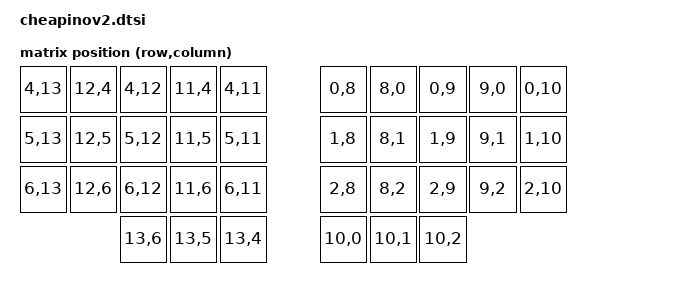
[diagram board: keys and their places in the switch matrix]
/*
 * Cheapino v2 uses one RP2040-Zero and an RJ45 cable to extend its directed
 * matrix to the right half. Pin assignments follow the upstream Cheapino v2
 * QMK definition at fe770a75b87996cb89807d7de14ebf8c85e3ae3b.
 */

#include <dt-bindings/zmk/matrix_transform.h>
#include <arm/raspberrypi/rp2040-boot-mode-retention.dtsi>
#include "cheapinov2-layout.dtsi"

&code_partition {
    reg = <0x100 (DT_SIZE_M(2) - 0x100 - DT_SIZE_K(512))>;
};

&flash0 {
    partitions {
        storage_partition: partition@180000 {
            label = "storage";
            reg = <0x180000 DT_SIZE_K(512)>;
            read-only;
        };
    };
};

/ {
    chosen {
        zmk,kscan = &cheapino_sideband;
        zmk,physical-layout = &cheapino_layout;
    };

    default_transform: keymap_transform_0 {
        compatible = "zmk,matrix-transform";
        columns = <14>;
        rows = <14>;
        /*
         * QMK scans active-low into pull-ups; ZMK scans these GPIO_ACTIVE_HIGH
         * cells active-high into pull-downs. RC therefore follows the physical
         * diode direction, which is the reverse of QMK's drive/sense order.
         */
        map = <
            RC(4,13) RC(12,4) RC(4,12) RC(11,4) RC(4,11)   RC(0,8) RC(8,0) RC(0,9) RC(9,0) RC(0,10)
            RC(5,13) RC(12,5) RC(5,12) RC(11,5) RC(5,11)   RC(1,8) RC(8,1) RC(1,9) RC(9,1) RC(1,10)
            RC(6,13) RC(12,6) RC(6,12) RC(11,6) RC(6,11)   RC(2,8) RC(8,2) RC(2,9) RC(9,2) RC(2,10)
                                RC(13,6) RC(13,5) RC(13,4)   RC(10,0) RC(10,1) RC(10,2)
        >;
    };

    cheapino_scan: kscan0 {
        compatible = "zmk,kscan-gpio-charlieplex";
        debounce-press-ms = <5>;
        debounce-release-ms = <5>;
        poll-period-ms = <1>;
        gpios
            = <&gpio0 3 GPIO_ACTIVE_HIGH>
            , <&gpio0 1 GPIO_ACTIVE_HIGH>
            , <&gpio0 2 GPIO_ACTIVE_HIGH>
            , <&gpio0 0 GPIO_ACTIVE_HIGH>
            , <&gpio0 27 GPIO_ACTIVE_HIGH>
            , <&gpio0 28 GPIO_ACTIVE_HIGH>
            , <&gpio0 29 GPIO_ACTIVE_HIGH>
            , <&gpio0 8 GPIO_ACTIVE_HIGH>
            , <&gpio0 6 GPIO_ACTIVE_HIGH>
            , <&gpio0 5 GPIO_ACTIVE_HIGH>
            , <&gpio0 4 GPIO_ACTIVE_HIGH>
            , <&gpio0 14 GPIO_ACTIVE_HIGH>
            , <&gpio0 15 GPIO_ACTIVE_HIGH>
            , <&gpio0 26 GPIO_ACTIVE_HIGH>
            ;
    };

#include <dt-bindings/zmk/keys.h>

    cheapino_filtered_scan: ghost_filtered_scan {
        compatible = "zmk,kscan-cheapino-ghost-filter";
        kscan = <&cheapino_scan>;
    };

    cheapino_sideband: encoder_sideband {
        compatible = "zmk,kscan-sideband-behaviors";
        kscan = <&cheapino_filtered_scan>;

        encoder_button {
            row = <3>;
            column = <8>;
            bindings = <&kp C_PLAY_PAUSE>;
        };

        encoder_a {
            row = <3>;
            column = <9>;
            bindings = <&cheapino_encoder 0>;
        };

        encoder_b {
            row = <3>;
            column = <10>;
            bindings = <&cheapino_encoder 1>;
        };
    };

    behaviors {
        cheapino_encoder: behavior_cheapino_encoder {
            compatible = "zmk,behavior-cheapino-encoder";
            #binding-cells = <1>;
            mac-nav-layer = <3>;
            mac-num-layer = <5>;
            system-layer = <6>;
            bindings
                = <&kp PG_DN>, <&kp PG_UP>
                , <&kp LC(TAB)>, <&kp LC(LS(TAB))>
                , <&kp LG(Y)>, <&kp LG(Z)>
                , <&kp C_VOL_UP>, <&kp C_VOL_DN>
                ;
        };
    };
};

&cheapino_layout {
    transform = <&default_transform>;
};
